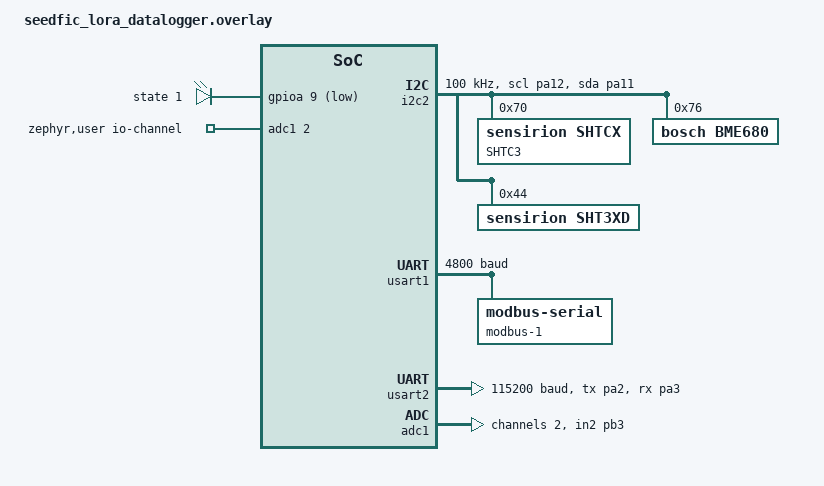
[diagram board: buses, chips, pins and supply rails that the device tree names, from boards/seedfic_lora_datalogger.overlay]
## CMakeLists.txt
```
#-------------------------------------------------------------------------------
# Zephyr Example Application
#
# Copyright (c) 2021 Nordic Semiconductor ASA
# SPDX-License-Identifier: Apache-2.0

cmake_minimum_required(VERSION 3.20.0)
find_package(Zephyr REQUIRED HINTS $ENV{ZEPHYR_BASE})

project(app LANGUAGES C)

include_directories(${CMAKE_SOURCE_DIR}/include)

target_sources(app PRIVATE
  ${CMAKE_SOURCE_DIR}/src/adc.c
  ${CMAKE_SOURCE_DIR}/src/main.c
  ${CMAKE_SOURCE_DIR}/src/bsp.c
  ${CMAKE_SOURCE_DIR}/src/event_task.c
  ${CMAKE_SOURCE_DIR}/src/control_task.c
  ${CMAKE_SOURCE_DIR}/src/sensor_task.c
)
```

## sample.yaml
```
# This file is provided so that the application can be compiled using Twister,
# the Zephyr testing tool. In this file, multiple combinations can be specified,
# so that you can easily test all of them locally or in CI.
sample:
  description: rak3172 application
  name: main
common:
  build_only: true
  integration_platforms:
    - seedfic_lora_rak3172
tests:
  app.default: {}
  app.debug:
    extra_overlay_confs:
      - debug.conf
```

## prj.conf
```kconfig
CONFIG_SERIAL=y
CONFIG_CONSOLE=y
CONFIG_UART_CONSOLE=y
CONFIG_UART_INTERRUPT_DRIVEN=y
CONFIG_UART_LINE_CTRL=y
CONFIG_STDOUT_CONSOLE=y


# CONFIG_MODBUS=y
# CONFIG_MODBUS_ROLE_CLIENT=y

# Use Segger RTT Console
#CONFIG_RTT_CONSOLE=y
#CONFIG_USE_SEGGER_RTT=y

CONFIG_LOG=y

CONFIG_SPI=y
CONFIG_I2C=y
CONFIG_GPIO=y
CONFIG_ADC=y

# CONFIG_SENSOR=y

#CONFIG_LOG_DEFAULT_LEVEL=4
#CONFIG_LOG_BACKEND_UART=y

CONFIG_NEWLIB_LIBC=y
CONFIG_NEWLIB_LIBC_FLOAT_PRINTF=y
CONFIG_CBPRINTF_FP_SUPPORT=y

CONFIG_LORA=y
CONFIG_LORA_STM32WL_SUBGHZ_RADIO=y
#CONFIG_LORA_LOG_LEVEL_DBG=y

CONFIG_LORAWAN=y
CONFIG_LORAWAN_LOG_LEVEL_DBG=y
CONFIG_LORAMAC_REGION_KR920=y

CONFIG_MAIN_STACK_SIZE=2048
CONFIG_SYSTEM_WORKQUEUE_STACK_SIZE=2048

CONFIG_FLASH=y
CONFIG_FLASH_PAGE_LAYOUT=y
CONFIG_NVS=y
CONFIG_MPU_ALLOW_FLASH_WRITE=y

CONFIG_SHELL=y
CONFIG_SHELL_HISTORY=n
CONFIG_SHELL_STACK_SIZE=4096

CONFIG_FRAMEWORK=y
CONFIG_SYS_ASSRET_ENABLED=y

CONFIG_REBOOT=y
```

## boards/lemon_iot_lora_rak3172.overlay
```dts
// DeviceTree overlay for Lemon IoT LoRa RAK3172
// SPDX-License-Identifier: Apache-2.0

/ {
	chosen {
		zephyr,console = &usart2;
		zephyr,shell-uart = &usart2;
	};
	aliases {
		sensorbus = &i2c2;
	    relay1 = &relay9;
		relay2 = &relay8;
		power = &power;
		battery = &battery;
		modbus-1 = &modbus1;
	};

	relays {
		compatible = "gpio-relays";
		power: power_ctrl {
			gpios = <&gpioa 0 GPIO_ACTIVE_LOW>;
			label = "power-ctrl";
		};
		battery: battery_ctrl {
			gpios = <&gpioa 1 GPIO_ACTIVE_LOW>;
			label = "battery-ctrl";
		};
		relay8: relay_8 {
			gpios = <&gpioa 8 GPIO_ACTIVE_LOW>;
			label = "relay-2";
		};
		relay9: relay_9 {
			gpios = <&gpioa 9 GPIO_ACTIVE_LOW>;
			label = "relay-1";
		};
	};

	zephyr,user {
		io-channels = <&adc1 2>;
	};
};


&i2c2 {
	pinctrl-0 = <&i2c2_scl_pa12 &i2c2_sda_pa11>;
	pinctrl-names = "default";
	status = "okay";
	clock-frequency = <100000>;
	shtcx@70 {
		compatible = "sensirion,shtcx";
		reg = <0x70>;
		chip = "shtc3";
		measure-mode = "normal";
	};
	bme680@76 {
		compatible = "bosch,bme680";
		reg = <0x76>;
	};
	sht3xd@44 {
		compatible = "sensirion,sht3xd";
		reg = <0x44>;
	};
};

&usart1 {
	pinctrl-names = "default";
	current-speed = <0x12c0>;
	status = "okay";
	modbus1: modbus_1 {
		compatible = "zephyr,modbus-serial";
		label = "modbus-1";
		status = "okay";
	};
};

&usart2 {
	pinctrl-0 = <&usart2_tx_pa2 &usart2_rx_pa3>;
	pinctrl-names = "default";
	current-speed = <0x1c200>;
	status = "okay";
};

&adc1 {
	pinctrl-0 = <&adc_in2_pb3>;
	pinctrl-names = "default";
	status = "okay";

	#address-cells = <1>;
	#size-cells = <0>;

	channel@2 {
		reg = <2>;
		zephyr,gain = "ADC_GAIN_1";
		zephyr,reference = "ADC_REF_INTERNAL";
		zephyr,acquisition-time = <ADC_ACQ_TIME_DEFAULT>;
		zephyr,resolution = <12>;
		zephyr,input-positive = <3>;
	};
};

&pinctrl {
	usart2_rx_pa3: usart2_rx_pa3 {
		pinmux = <STM32_PINMUX('A', 3, AF7)>;
	};
	usart2_tx_pa2: usart2_tx_pa2 {
		pinmux = <STM32_PINMUX('A', 2, AF7)>;
		bias-pull-up;
	};
};
```

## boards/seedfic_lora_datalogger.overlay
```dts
// DeviceTree overlay for SEEDFIC LoRa DataLogger
// SPDX-License-Identifier: Apache-2.0

/ {
	chosen {
		zephyr,console = &usart2;
		zephyr,shell-uart = &usart2;
	};
	aliases {
		sensorbus = &i2c2;
	 	relay1 = &relay9;
		relay2 = &relay8;
		power = &power;
		battery = &battery;
		modbus-1 = &modbus1;
	};

	relays {
		compatible = "gpio-relays";
		power: power_ctrl {
			gpios = <&gpioa 0 GPIO_ACTIVE_LOW>;
			label = "power-ctrl";
		};
		battery: battery_ctrl {
			gpios = <&gpioa 1 GPIO_ACTIVE_LOW>;
			label = "battery-ctrl";
		};
		relay8: relay_8 {
			gpios = <&gpioa 8 GPIO_ACTIVE_LOW>;
			label = "relay-2";
		};
		relay9: relay_9 {
			gpios = <&gpioa 9 GPIO_ACTIVE_LOW>;
			label = "relay-1";
		};
	};

	leds{
		compatible = "gpio-leds";
			state1: state_1{
				gpios = < &gpioa 9 GPIO_ACTIVE_LOW>;
				label = "state 1";
			};
	};

	zephyr,user {
		io-channels = <&adc1 2>;
	};
};

&i2c2 {
	pinctrl-0 = <&i2c2_scl_pa12 &i2c2_sda_pa11>;
	pinctrl-names = "default";
	status = "okay";
	clock-frequency = <100000>;
	shtcx@70 {
		compatible = "sensirion,shtcx";
		label = "SHTC3";
		reg = <0x70>;
		chip = "shtc3";
		measure-mode = "normal";
	};
	bme680@76 {
		compatible = "bosch,bme680";
		label = "BME680";
		reg = <0x76>;
	};
	sht3xd@44 {
		compatible = "sensirion,sht3xd";
		label = "SHT3XD";
		reg = <0x44>;
	};
};

&usart1 {
	pinctrl-names = "default";
	current-speed = <0x12c0>;
	status = "okay";
	modbus1: modbus_1 {
		compatible = "zephyr,modbus-serial";
		label = "modbus-1";
		status = "okay";
	};
};

&usart2 {
	pinctrl-0 = <&usart2_tx_pa2 &usart2_rx_pa3>;
	pinctrl-names = "default";
	current-speed = <0x1c200>;
	status = "okay";
};

&adc1 {
	pinctrl-0 = <&adc_in2_pb3>;
	pinctrl-names = "default";
	st,adc-clock-source = <1>;
	st,adc-prescaler = <1>;
	status = "okay";

	#address-cells = <1>;
	#size-cells = <0>;

	channel@2 {
		reg = <2>;
		zephyr,gain = "ADC_GAIN_1";
		zephyr,reference = "ADC_REF_INTERNAL";
		zephyr,acquisition-time = <ADC_ACQ_TIME_DEFAULT>;
		zephyr,resolution = <12>;
		zephyr,input-positive = <3>;
	};
};

&pinctrl {
	usart2_rx_pa3: usart2_rx_pa3 {
		pinmux = <STM32_PINMUX('A', 3, AF7)>;
	};
	usart2_tx_pa2: usart2_tx_pa2 {
		pinmux = <STM32_PINMUX('A', 2, AF7)>;
		bias-pull-up;
	};
};
```

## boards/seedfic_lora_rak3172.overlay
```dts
// DeviceTree overlay for SEEDFIC LoRa Rak3172
// SPDX-License-Identifier: Apache-2.0
// This is settig irrigration with RAK3172 in zephyr

/ {
	chosen {
		zephyr,console = &usart2;
		zephyr,shell-uart = &usart2;
	};

	aliases {
	 	relay1 = &relay1;
		relay2 = &relay2;
		power = &power;
		battery = &battery;
		led1 = &state1;
		led2 = &state2;
		waterflower = &button;
	};

	relays {
		compatible = "gpio-relays";
		power: power_ctrl {
			gpios = <&gpioa 15 GPIO_ACTIVE_LOW>;
			label = "power-ctrl";
		};
		battery: battery_ctrl {
			gpios = <&gpioa 1 GPIO_ACTIVE_LOW>;
			label = "battery-ctrl";
		};
		relay1: relay_1 {
			gpios = <&gpiob 12 GPIO_ACTIVE_LOW>;
			label = "relay-1";
		};
		relay2: relay_2 {
			gpios = <&gpiob 2 GPIO_ACTIVE_LOW>;
			label = "relay-2";
		};
	};

	leds{
		compatible = "gpio-leds";
			state1: state_1{
				gpios = < &gpioa 9 GPIO_ACTIVE_LOW>;
				label = "state 1";
			};
			state2: state_2{
				gpios = < &gpioa 10 GPIO_ACTIVE_LOW>;
				label = "state 2";
			};
	};

	buttons{
		compatible = "gpio-keys";
		button: button{
			gpios = <&gpiob 5 GPIO_ACTIVE_HIGH>;
		};
	};

	zephyr,user {
		io-channels = <&adc1 2>;
	};
};

&i2c2 {
	pinctrl-0 = <&i2c2_scl_pa12 &i2c2_sda_pa11>;
	pinctrl-names = "default";
	status = "okay";
	clock-frequency = <100000>;
};

&usart2 {
	pinctrl-0 = <&usart2_tx_pa2 &usart2_rx_pa3>;
	pinctrl-names = "default";
	current-speed = <0x1c200>;
	status = "okay";
};

&adc1 {
	pinctrl-0 = <&adc_in2_pb3>;
	pinctrl-names = "default";
	st,adc-clock-source = <1>;
	st,adc-prescaler = <1>;
	status = "okay";

	#address-cells = <1>;
	#size-cells = <0>;

	channel@2 {
		reg = <2>;
		zephyr,gain = "ADC_GAIN_1";
		zephyr,reference = "ADC_REF_INTERNAL";
		zephyr,acquisition-time = <ADC_ACQ_TIME_DEFAULT>;
		zephyr,resolution = <12>;
		zephyr,input-positive = <3>;
	};
};

&pinctrl {
	usart2_rx_pa3: usart2_rx_pa3 {
		pinmux = <STM32_PINMUX('A', 3, AF7)>;
	};
	usart2_tx_pa2: usart2_tx_pa2 {
		pinmux = <STM32_PINMUX('A', 2, AF7)>;
		bias-pull-up;
	};
};
```

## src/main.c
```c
/*
 * LoRaWAN Sensor Node
 *
 * Copyright (c) 2023 SEED FIC
 *
 * SPDX-License-Identifier: Apache-2.0
 */

#include <stdio.h>
#include <string.h>

#include "bsp.h"
#include "control_task.h"

#include <zephyr/kernel.h>
#include <zephyr/logging/log.h>
LOG_MODULE_REGISTER(main, LOG_LEVEL_INF);

int main(void) {

  int ret;
  LOG_INF("Zephyr LoRaWAN Node irrigration\nBoard: %s\n", CONFIG_BOARD);

  bsp_init();

  syscfg_init();

  control_task_init();
  control_task_thread();

  return 0;
}
```

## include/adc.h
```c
#ifndef __ANALOG_IN_H__
#define __ANALOG_IN_H__

#include <stdint.h>
#include <stdbool.h>

#ifdef __cplusplus
extern "C" {
#endif

float adc_read_vlotage(void);
#define BAD_ANALOG_READ -123

#ifdef __cplusplus
}
#endif

#endif /* __ANALOG_IN_H__ */
```

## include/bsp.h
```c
#ifndef __BSP_H__
#define __BSP_H__

#include <stddef.h>
#include <zephyr/drivers/gpio.h>
#include <zephyr/types.h>

#ifdef __cplusplus
extern "C" {
#endif

#define WATER_FLOW  "water_flow"

void bsp_init(void);
int bsp_pin_get(const struct device *port, uint8_t pin);
int bsp_pin_set(const struct device *port, uint8_t pin, int value);
int bsp_pin_toggle(const struct device *port, uint8_t pin);

int power_control(int value);
int battery_control(int value);
int relay_control(int value);
int relay_toggle(void);
int relay_2_toggle(void);
int led_state1_toggle(void);
int led_state2_toggle(void);

#ifdef __cplusplus
}
#endif

#endif /* __BSP_H__ */
```

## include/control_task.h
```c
#ifndef __CONTROL_TASK_H__
#define __CONTROL_TASK_H__

// #include <zephyr/types.h>
#include <stdbool.h>

#include <framework/sys_cfg.h>

#ifdef __cplusplus
extern "C" {
#endif

/******************************************************************************/
/* Global Constants, Macros and Type Definitions                              */
/******************************************************************************/

/** The main thread can either have a stack large enough to do initialization,
 * or the control thread can be the "main" thread, or
 */
#ifndef CONTROL_TASK_USES_MAIN_THREAD
#define CONTROL_TASK_USES_MAIN_THREAD 0
#endif

/******************************************************************************/
/* Global Function Prototypes                                                 */
/******************************************************************************/
/**
 * @brief Initialize control task and all other application tasks.
 */
void control_task_init(void);

/**
 * @brief Run main/control thread.
 */
void control_task_thread(void);

#ifdef __cplusplus
}
#endif

#endif /* __CONTROL_TASK_H__ */
```

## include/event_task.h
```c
#ifndef __EVENT_TASK_H__
#define __EVENT_TASK_H__

// #include <zephyr/types.h>
#include <stddef.h>

#ifdef __cplusplus
extern "C" {
#endif

void event_task_init(void);

#ifdef __cplusplus
}
#endif

#endif /* __EVENT_TASK_H__ */
```

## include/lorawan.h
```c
/*
 * LoRaWAN sample application
 *
 * SPDX-License-Identifier: Apache-2.0
 */

#ifndef __LORAWAN_H__
#define __LORAWAN_H__

// #define _WISGATE_OS_
// #define _CHIRPSTACK_OS_
#define _CHIRPSTACK_OS_V4_
// #define _HELTEC_TTS_
// #define SENSOR_NUMBER 1
#define IRRIGRATION_NUMBER 1

/* Customize based on network configuration */
#if defined(_WISGATE_OS_)

#if SENSOR_NUMBER == 1

#define LORAWAN_DEV_EUI                                                        \
  { 0xd4, 0x13, 0xcd, 0x92, 0x0f, 0x88, 0x56, 0x34 } // MSB Format!

#define FPORT 3

#pragma message("Sensor1")

#elif SENSOR_NUMBER == 2

#define LORAWAN_DEV_EUI                                                        \
  { 0xd4, 0x13, 0xcd, 0x92, 0x0f, 0x88, 0x56, 0x35 } // MSB Format!

#define FPORT 2

#pragma message("Sensor2")

#elif SENSOR_NUMBER == 3

#define LORAWAN_DEV_EUI                                                        \
  { 0xd4, 0x13, 0xcd, 0x92, 0x0f, 0x88, 0x56, 0x36 } // MSB Format!

#define FPORT 4

#pragma message("Sensor3")

#else

#error "Unexpected sensor number"

#endif

#define LORAWAN_JOIN_EUI                                                       \
  { 0x00, 0x00, 0x00, 0x00, 0x00, 0x00, 0x00, 0x00 } // MSB Format!
#define LORAWAN_APP_KEY                                                        \
  {                                                                            \
    0x88, 0x51, 0xaf, 0xe5, 0xc0, 0x06, 0x01, 0x9c, 0xe2, 0x5e, 0x69, 0x9b,    \
        0x0c, 0x7e, 0x1a, 0xb1                                                 \
  }

#elif defined(_CHIRPSTACK_OS_)

#if SENSOR_NUMBER == 1

#define LORAWAN_DEV_EUI                                                        \
  { 0xd4, 0x13, 0xcd, 0x92, 0x0f, 0x88, 0x56, 0x34 } // MSB Format!

#define FPORT 2

#pragma message("Sensor1")

#elif SENSOR_NUMBER == 2

#define LORAWAN_DEV_EUI                                                        \
  { 0xd4, 0x13, 0xcd, 0x92, 0x0f, 0x88, 0x56, 0x35 } // MSB Format!

#define FPORT 3

#pragma message("Sensor2")

#elif SENSOR_NUMBER == 3

#define LORAWAN_DEV_EUI                                                        \
  { 0xd4, 0x13, 0xcd, 0x92, 0x0f, 0x88, 0x56, 0x36 } // MSB Format!

#define FPORT 4

#pragma message("Sensor3")

#elif SENSOR_NUMBER == 5

#define LORAWAN_DEV_EUI                                                        \
  { 0xd4, 0x13, 0xcd, 0x92, 0x0f, 0x88, 0x56, 0x38 } // MSB Format!

#pragma message("Sensor5")

#define FPORT 6

#elif SENSOR_NUMBER == 6

#define LORAWAN_DEV_EUI                                                        \
  { 0xd4, 0x13, 0xcd, 0x92, 0x0f, 0x88, 0x56, 0x39 } // MSB Format!

#pragma message("Sensor6")

#define FPORT 7

#elif SENSOR_NUMBER == 7

#define LORAWAN_DEV_EUI                                                        \
  { 0xd4, 0x13, 0xcd, 0x92, 0x0f, 0x88, 0x56, 0x3A } // MSB Format!

#pragma message("Sensor7")

#define FPORT 8

#elif SENSOR_NUMBER == 8

#define LORAWAN_DEV_EUI                                                        \
  { 0xd4, 0x13, 0xcd, 0x92, 0x0f, 0x88, 0x56, 0x3B } // MSB Format!

#pragma message("Sensor8")

#define FPORT 9

#elif SENSOR_NUMBER == 9

#define LORAWAN_DEV_EUI                                                        \
  { 0xd4, 0x13, 0xcd, 0x92, 0x0f, 0x88, 0x56, 0x3C } // MSB Format!

#pragma message("Sensor9")

#define FPORT 10

#endif

#define LORAWAN_JOIN_EUI                                                       \
  { 0x00, 0x00, 0x00, 0x00, 0x00, 0x00, 0x00, 0x00 } // MSB Format!
#define LORAWAN_APP_KEY                                                        \
  {                                                                            \
    0xa7, 0x6f, 0xd9, 0xad, 0x23, 0xe4, 0x23, 0xea, 0x7e, 0xd4, 0x6a, 0xf4,    \
        0x6f, 0x1f, 0x5f, 0xd3                                                 \
  }

#elif defined(_CHIRPSTACK_OS_V4_)

#if SENSOR_NUMBER == 4

#define LORAWAN_DEV_EUI                                                        \
  { 0xD4, 0x13, 0xCD, 0x92, 0x0F, 0x81, 0x51, 0x57 } // MSB Format!

#pragma message("Sensor4")

#define FPORT 5

#elif SENSOR_NUMBER == 10

#define LORAWAN_DEV_EUI                                                        \
  { 0xd4, 0x13, 0xcd, 0x92, 0x0f, 0x88, 0x56, 0x3D } // MSB Format!

#pragma message("Sensor10")

#define FPORT 11

#elif SENSOR_NUMBER == 11

#define LORAWAN_DEV_EUI                                                        \
  { 0xd4, 0x13, 0xcd, 0x92, 0x0f, 0x88, 0x56, 0x3E } // MSB Format!

#pragma message("Sensor11")

#define FPORT 12

#elif IRRIGRATION_NUMBER == 1

#define LORAWAN_DEV_EUI                                                        \
  { 0x0e, 0xff, 0x9b, 0x43, 0x95, 0x24, 0x8f, 0xc8 } // MSB Format!
#pragma message("irrigration board #1")

#define FPORT 13

#endif /* SENSOR_NUMBER */

#define LORAWAN_JOIN_EUI                                                       \
  { 0x00, 0x00, 0x00, 0x00, 0x00, 0x00, 0x00, 0x00 } // MSB Format!
#define LORAWAN_APP_KEY                                                        \
  {                                                                            \
    0xa8, 0x60, 0xd9, 0xac, 0x25, 0xed, 0x23, 0xe0, 0x7d, 0xd3, 0x6b, 0xf1,    \
        0x6e, 0x1d, 0x50, 0x53                                                 \
  }

#elif defined(_HELTEC_TTS_)

#if SENSOR_NUMBER == 1

#define LORAWAN_DEV_EUI                                                        \
  { 0xD4, 0x13, 0xCD, 0x92, 0x0F, 0x81, 0x51, 0x58 } // MSB Format!

#pragma message("Sensor5")

#define FPORT 6

#endif /* SENSOR_NUMBER */

#define LORAWAN_JOIN_EUI                                                       \
  { 0x00, 0x00, 0x00, 0x00, 0x00, 0x00, 0x00, 0x00 } // MSB Format!

#define LORAWAN_APP_KEY                                                        \
  {                                                                            \
    0xC1, 0x14, 0xE3, 0xE6, 0x2A, 0x8F, 0xBC, 0x1E, 0xD4, 0x02, 0xE3, 0xAA,    \
        0x5C, 0x8B, 0x1E, 0xB6                                                 \
  }

#endif

#endif /* __LORAWAN_H__ */
```

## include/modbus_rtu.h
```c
#ifndef __MODBUS_RTU_H__
#define __MODBUS_RTU_H__

#ifdef __cplusplus
extern "C" {
#endif

int init_modbus_client(void);

int read_holding_regs(const uint8_t unit_id, const uint16_t start_addr, uint16_t *const reg_buf,
                         const uint16_t num_regs);
int write_holding_regs(const uint8_t unit_id, const uint16_t start_addr, uint16_t *const reg_buf,
                          const uint16_t num_regs);

#ifdef __cplusplus
}
#endif

#endif /* __MODBUS_RTU_H__ */
```

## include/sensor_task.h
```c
/**
 * @file sensor_task.h
 * @brief
 *
 * Copyright (c) 2023 SEED FIC
 *
 * SPDX-License-Identifier: Apache-2.0
 */
#ifndef __SENSOR_TASK_H__
#define __SENSOR_TASK_H__

// #include <zephyr/types.h>
// #include <stddef.h>

#ifdef __cplusplus
extern "C" {
#endif

/******************************************************************************/
/* Global Function Prototypes                                                 */
/******************************************************************************/
/**
 * @brief The setup of the thread parameters
 */
void sensor_task_init(void);

#ifdef __cplusplus
}
#endif

#endif /* __SENSOR_TASK_H__ */
```

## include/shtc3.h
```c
/*
 * SHTC3 - Sensirion Humidity and Temperature Sensor Code
 *
 * SPDX-License-Identifier: Apache-2.0
 */

#ifndef __SHTC3_H__
#define __SHTC3_H__

#ifdef __cplusplus
extern "C" {
#endif

#define SHTC3_ADDR 0x70

#define SHTC3_SLEEP 0xB098
#define SHTC3_WAKEUP 0x3517
#define SHTC3_SWRESET 0x805D
#define SHTC3_IDREG 0xEFC8
#define SHTC3_READ_T_FIRST 0x7866
#define SHTC3_READ_RH_FIRST 0x58E0

#define CRC_POLYNOMIAL 0x131  // P(x) = x^8 + x^5 + x^4 + 1 = 100110001
#define SHTC3_NO_ERROR 0
#define SHTC3_CHECKSUM_ERROR -1
#define SHTC3_I2C_ERROR -2

#define SHTC3_NO_RETRIES 100

struct VALUES {
  uint16_t temperature;
  uint8_t temperature_crc;
  uint16_t humidity;
  uint8_t humidity_crc;
} __attribute__((packed));

union DATA {
  struct VALUES meas;
  uint8_t buffer[6];
};

int8_t i2c_write_short(const struct device *i2c_dev, uint8_t address, uint8_t command, uint16_t data);
int16_t i2c_read_short(const struct device *i2c_dev, uint8_t address, uint8_t command);
uint8_t shtc3_sleep(const struct device *dev);
uint8_t shtc3_wakeup(const struct device *dev);
uint8_t shtc3_readid(const struct device *dev);
uint8_t shtc3_software_reset(const struct device *dev);
uint8_t shtc3_GetTempAndHumidity(const struct device *dev, uint16_t *temperature, uint16_t *humidity);
uint8_t shtc3_checkcrc(uint8_t data[], uint8_t nbrOfBytes, uint8_t checksum);

float shtc3_convert_humd(uint16_t raw_humd);
float shtc3_convert_temp(uint16_t raw_temp);

#ifdef __cplusplus
}
#endif

#endif /* __SHTC3_H__ */
```

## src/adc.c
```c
/*
 * RAK3172 (STM32WLE5CC) ADC Example
 *
 * The STM32WL ADC consists of 12 external and 4 internal channels.
 *
 * The RAK3172 has the following ADC inputs broken out:
 * Channel 2  - P0.19 ADC0 'adc_in2_pb3'
 * Channel 3  - P0.20 ADC1 'adc_in3_pb4'
 * Channel 4  - P0.18 ADC2 'adc_in4_pb2'
 * Channel 6  - P0.10 ADC3 'adc_in6_pa10'
 * Channel 11 - P0.15 ADC4 'adc_in11_pa15'
 *
 * Internal Inputs are:
 * Channel 12 - Temperature
 * Channel 13 - Volt Ref
 * Channel 14 - VBAT/3
 * Channel 15 - DAC Output
 *
 * To connect the ADC to the I/O pin, they must be defined in the pinctrl property of the ADC node:
 * pinctrl-0 = <&adc_in2_pb3>, <&adc_in3_pb4>, <&adc_in4_pb2>, <&adc_in6_pa10>, <&adc_in11_pa15>;
 *
 */

#include "adc.h"
#include <inttypes.h>
#include <stddef.h>
#include <stdint.h>

#include <zephyr/device.h>
#include <zephyr/devicetree.h>
#include <zephyr/drivers/adc.h>
#include <zephyr/kernel.h>
#include <zephyr/sys/printk.h>
#include <zephyr/sys/util.h>

#include <zephyr/logging/log.h>
LOG_MODULE_REGISTER(adc_sample, LOG_LEVEL_INF);

#if !DT_NODE_EXISTS(DT_PATH(zephyr_user)) || !DT_NODE_HAS_PROP(DT_PATH(zephyr_user), io_channels)
#error "No suitable devicetree overlay specified"
#endif

#define DT_SPEC_AND_COMMA(node_id, prop, idx) ADC_DT_SPEC_GET_BY_IDX(node_id, idx),

#define INPUT_VOLT_RANGE 4.2f    // Volts
#define VALUE_RANGE_12_BIT 4096  // 2^12

static bool is_initialized = false;

/* Data of ADC io-channels specified in devicetree. */
static const struct adc_dt_spec adc_channels[] = { DT_FOREACH_PROP_ELEM(DT_PATH(zephyr_user), io_channels,
                                                                        DT_SPEC_AND_COMMA) };

static int get_adc_channel_count(void) {
  return ARRAY_SIZE(adc_channels);
}

static const struct adc_dt_spec* get_adc_channel(int index) {
  if ((index + 1) > ARRAY_SIZE(adc_channels)) {
    return (struct adc_dt_spec*)NULL;
  }
  return &adc_channels[index];
}

// initialize and configure the adc channel
static const struct adc_dt_spec* init_adc(void) {
  int ret;

  int ch_count = get_adc_channel_count();
  if (ch_count > 1) {
    printk("Only support channel count 1\n");
    ch_count = 1;
  }

  const struct adc_dt_spec* adc_channel = get_adc_channel(ch_count - 1);
  if (adc_channel == NULL) {
    LOG_INF("Fail to intialize the adc channel!!!");
    return NULL;
  }

  if (!device_is_ready(adc_channel->dev)) {
    printk("ADC controller device %s not ready\n", adc_channel->dev->name);
    return NULL;
  }

  if (adc_channel->dev != NULL && !is_initialized) {
    ret = adc_channel_setup_dt(adc_channel);
    if (ret != 0) {
      LOG_INF("Could not setup channel with error = (%d)", ret);
    } else {
      is_initialized = true;  // we don't have any other analog users
    }
  }

  return adc_channel;
}

// ------------------------------------------------
// read one channel of adc
// ------------------------------------------------
static int16_t read_adc_value(void) {
  int32_t val_mv;
  int16_t value = 0;

  struct adc_sequence sequence = { .buffer = &value,  // where to put samples read
                                   .buffer_size = sizeof(value) };

  int ret;
  int16_t sample_value = BAD_ANALOG_READ;

  const struct adc_dt_spec* adc_channel = init_adc();

  if (adc_channel) {
    printk("- %s, channel %d: ", adc_channel->dev->name, adc_channel->channel_id);
    (void)adc_sequence_init_dt(adc_channel, &sequence);
    ret = adc_read(adc_channel->dev, &sequence);
    if (ret == 0) {
      sample_value = value;

      printk("sample_value = %" PRId32, sample_value);
    }

    /*
     * If using differential mode, the 16 bit value
     * in the ADC sample buffer should be a signed 2's
     * complement value.
     */
    if (adc_channel->channel_cfg.differential) {
      val_mv = (int32_t)((int16_t)value);
    } else {
      val_mv = (int32_t)value;
    }
    int err = adc_raw_to_millivolts_dt(adc_channel, &val_mv);
    /* conversion to mV may not be supported, skip if not */
    if (err < 0) {
      printk(" (value in mV not available)\n");
    } else {
      printk(", value = %" PRId32 " mV\n", val_mv);
    }
  }

  return sample_value;
}

// ------------------------------------------------
// high level read adc channel and convert to float voltage
// ------------------------------------------------
float adc_read_vlotage(void) {
  int16_t sv = read_adc_value();

  if (sv == BAD_ANALOG_READ) {
    return sv;
  }

  // Convert the result to voltage
  // Result = [V(p) - V(n)] * GAIN/REFERENCE / (2^(RESOLUTION) / 1000)

  // the 3.3 relates to the voltage divider being used in my circuit
  float fout = (sv * (INPUT_VOLT_RANGE / VALUE_RANGE_12_BIT));
  return (fout * 2);
}
```

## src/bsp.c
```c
/**
 * @file bsp.c
 * @brief This is the board support file for defining and configuring the GPIO
 * pins and other peripheral
 *
 * Copyright (c) 2023 SEED FIC
 *
 * SPDX-License-Identifier: Apache-2.0
 */

#include <zephyr/logging/log.h>
#include <zephyr/logging/log_ctrl.h>

LOG_MODULE_REGISTER(bsp, LOG_LEVEL_DBG);

/******************************************************************************/
/* Includes                                                                   */
/******************************************************************************/
#include <zephyr/device.h>
#include <zephyr/drivers/gpio.h>
#include <zephyr/drivers/uart.h>
#include <zephyr/kernel.h>
#include <zephyr/pm/device.h>
#include <zephyr/sys/util.h>

#include "bsp.h"
#include <framework/sys_cfg.h>

/******************************************************************************/
/* Local Data Definitions                                                     */
/******************************************************************************/

/* The devicetree node identifier for the "relay0" alias. */
#define REALY1_NODE DT_ALIAS(relay1)
#define REALY2_NODE DT_ALIAS(relay2)
#define POWER_NODE DT_ALIAS(power)
#define BATTERY_NODE DT_ALIAS(battery)
#define LED1_NODE DT_ALIAS(led1)
#define LED2_NODE DT_ALIAS(led2)
#define WATER_FLOWER_NODE DT_ALIAS(waterflower)

/*
 * A build error on this line means your board is unsupported.
 * See the sample documentation for information on how to fix this.
 */

static struct gpio_callback water_flower_cb_data;
static const struct gpio_dt_spec water_flower =
    GPIO_DT_SPEC_GET(WATER_FLOWER_NODE, gpios);

static const struct gpio_dt_spec power_ctrl =
    GPIO_DT_SPEC_GET(POWER_NODE, gpios);
static const struct gpio_dt_spec battery_ctrl =
    GPIO_DT_SPEC_GET(BATTERY_NODE, gpios);
static const struct gpio_dt_spec relay = GPIO_DT_SPEC_GET(REALY1_NODE, gpios);
static const struct gpio_dt_spec relay_2 = GPIO_DT_SPEC_GET(REALY2_NODE, gpios);
static const struct device *lora_dev = DEVICE_DT_GET(DT_ALIAS(lora0));

static const struct gpio_dt_spec led_state1 =
    GPIO_DT_SPEC_GET(LED1_NODE, gpios);
static const struct gpio_dt_spec led_state2 =
    GPIO_DT_SPEC_GET(LED2_NODE, gpios);

static uint32_t water_flower_count = 0;
/******************************************************************************/
/* Local Function Prototypes                                                  */
/******************************************************************************/
static void configure_outputs(void);

void gpio_pin_interrupt_set(void);

/******************************************************************************/
/* Global Function Definitions                                                */
/******************************************************************************/
void bsp_init(void) {

  if (!gpio_is_ready_dt(&relay)) {
    LOG_ERR("%s device not ready", relay.port->name);
  }

  if (!gpio_is_ready_dt(&relay_2)) {
    LOG_ERR("%s device not ready", relay_2.port->name);
  }

  if (!gpio_is_ready_dt(&power_ctrl)) {
    LOG_ERR("%s device not ready", power_ctrl.port->name);
  }

  if (!gpio_is_ready_dt(&battery_ctrl)) {
    LOG_ERR("%s device not ready", battery_ctrl.port->name);
  }

  if (!device_is_ready(lora_dev)) {
    LOG_ERR("%s: device not ready.", lora_dev->name);
  }

  if (!gpio_is_ready_dt(&water_flower)) {
    LOG_ERR("%s: device not ready.", water_flower.port->name);
  }

  if (!gpio_is_ready_dt(&led_state1)) {
    LOG_ERR("%s: device not ready.", led_state1.port->name);
  }

  if (!gpio_is_ready_dt(&led_state2)) {
    LOG_ERR("%s: device not ready.", led_state1.port->name);
  }

  configure_outputs();
  gpio_pin_interrupt_set();
}

int bsp_pin_get(const struct device *port, uint8_t pin) {
  int ret = gpio_pin_get_raw(port, pin);
  if (ret < 0) {
    LOG_ERR("Failed to set pin");
  }
  return ret;
}

int bsp_pin_set(const struct device *port, uint8_t pin, int value) {
  int ret = gpio_pin_set_raw(port, pin, value);
  if (ret < 0) {
    LOG_ERR("Failed to set pin");
  }
  return ret;
}

int bsp_pin_toggle(const struct device *port, uint8_t pin) {
  return gpio_pin_toggle(port, pin);
}

int power_control(int value) {
  return bsp_pin_set(power_ctrl.port, power_ctrl.pin, value);
}

int battery_control(int value) {
  return bsp_pin_set(battery_ctrl.port, battery_ctrl.pin, value);
}

int relay_control(int value) {
  return bsp_pin_set(relay.port, relay.pin, value);
}

int relay_toggle(void) { return bsp_pin_toggle(relay.port, relay.pin); }

int relay_2_toggle(void) { return bsp_pin_toggle(relay_2.port, relay_2.pin); }

int led_state1_toggle(void) {
  return bsp_pin_toggle(led_state1.port, led_state1.pin);
}

int led_state2_toggle(void) {
  return bsp_pin_toggle(led_state2.port, led_state2.pin);
}

static void configure_outputs(void) {
  gpio_pin_configure_dt(&water_flower, GPIO_INPUT);
  gpio_pin_configure_dt(&relay, GPIO_OUTPUT_ACTIVE);
  gpio_pin_configure_dt(&relay_2, GPIO_OUTPUT_ACTIVE);
  gpio_pin_configure_dt(&led_state1, GPIO_OUTPUT_ACTIVE);
  gpio_pin_configure_dt(&led_state2, GPIO_OUTPUT_ACTIVE);
  gpio_pin_configure_dt(&power_ctrl, GPIO_OUTPUT_ACTIVE);
  gpio_pin_configure_dt(&battery_ctrl, GPIO_OUTPUT_ACTIVE);
}

void water_flower_check(const struct device *dev, struct gpio_callback *cb,
                        uint32_t pins) {
  // TODO
  char water_flow[12] = {0};

  water_flower_count++;
  printk("water_flower count : %u\n", water_flower_count);
  snprintf(water_flow, sizeof(water_flow), "%u", water_flower_count);
  syscfg_set(WATER_FLOW, water_flow);
}

void gpio_pin_interrupt_set(void) {
  int ret;
  ret = gpio_pin_interrupt_configure_dt(&water_flower, GPIO_INT_EDGE_RISING);
  if (ret != 0) {
    printk("gpio_pin_interrupt_configure_dt error\n");
  }
  gpio_init_callback(&water_flower_cb_data, water_flower_check,
                     BIT(water_flower.pin));
  gpio_add_callback(water_flower.port, &water_flower_cb_data);
}
```

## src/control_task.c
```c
#include <math.h>
#include <stdio.h>
#include <string.h>

#include <zephyr/device.h>
#include <zephyr/drivers/gpio.h>
#include <zephyr/kernel.h>
#include <zephyr/lorawan/lorawan.h>
#include <zephyr/sys/reboot.h>

// #include <zephyr/drivers/flash.h>
// #include <zephyr/fs/nvs.h>
// #include <zephyr/storage/flash_map.h>

#include <framework/msg_ids.h>
#include <framework/sys_msg_macros.h>
#include <framework/sys_msg_types.h>

#include "bsp.h"
#include "control_task.h"
#include "event_task.h"
#include "lorawan.h"
#include "sensor_task.h"

#include <zephyr/logging/log.h>
LOG_MODULE_REGISTER(control_task, LOG_LEVEL_DBG);

#define THIS_FILE "Control_Task"

// #define CONFIG_HEARTBEAT_SECONDS 300
#define CONFIG_HEARTBEAT_SECONDS 120

#if !CONTROL_TASK_USES_MAIN_THREAD
#ifndef CONTROL_TASK_PRIORITY
#define CONTROL_TASK_PRIORITY K_PRIO_PREEMPT(1)
#endif

#ifndef CONTROL_TASK_STACK_DEPTH
#define CONTROL_TASK_STACK_DEPTH 4096
#endif
#endif /* CONTROL_TASK_USES_MAIN_THREAD */

#ifndef CONTROL_TASK_QUEUE_DEPTH
#define CONTROL_TASK_QUEUE_DEPTH 32
#endif

// #define NVS_PARTITION storage_partition
// #define NVS_PARTITION_DEVICE FIXED_PARTITION_DEVICE(NVS_PARTITION)
// #define NVS_PARTITION_OFFSET FIXED_PARTITION_OFFSET(NVS_PARTITION)

// #define NVS_DEVNONCE_ID 1

typedef struct {
  msg_task_t msg_task;
  uint32_t boradcast_cnt;
  bool b_factory_reset;
  bool b_task_started;
} control_ctx_t;

/**********************************************************/
/* Local Data Definitions                                 */
/**********************************************************/
static control_ctx_t ctrl_ctx;

// static struct nvs_fs fs;
static uint16_t dev_nonce;

static bool b_send_msg_lorawan;

uint8_t tx_data[51] = {0};

#if !CONTROL_TASK_USES_MAIN_THREAD
K_THREAD_STACK_DEFINE(ctrl_task_stack, CONTROL_TASK_STACK_DEPTH);
#endif

K_MSGQ_DEFINE(ctrl_task_queue, MSG_QUEUE_ENTRY_SIZE, CONTROL_TASK_QUEUE_DEPTH,
              MSG_QUEUE_ALIGNMENT);

/**********************************************************/
/* Local Function Prototypes                              */
/**********************************************************/
static void ctrl_task_thread(void *, void *, void *);

static uint16_t get_dev_nonce(void);
static uint16_t inc_dev_nonce(uint16_t nonce);

// LoRaWAN callback functions
static void dl_callback(uint8_t port, bool data_pending, int16_t rssi,
                        int8_t snr, uint8_t len, const uint8_t *data);
static void lorwan_datarate_changed(enum lorawan_datarate dr);

static dispatch_result_t sw_reset_msg_handler(msg_recv_t *p_msg_rxer,
                                              msg_t *p_msg);
static dispatch_result_t heart_beat_msg_handler(msg_recv_t *p_msg_rxer,
                                                msg_t *p_msg);
static dispatch_result_t factory_reset_msg_handler(msg_recv_t *p_msg_rxer,
                                                   msg_t *p_msg);
static dispatch_result_t join_lorawan_msg_handler(msg_recv_t *p_msg_rxer,
                                                  msg_t *p_msg);
static dispatch_result_t send_data_lorawan_msg_handler(msg_recv_t *p_msg_rxer,
                                                       msg_t *p_msg);
static dispatch_result_t sensor_event_msg_handler(msg_recv_t *p_msg_rxer,
                                                  msg_t *p_msg);

static void reboot_handler(void);

/**********************************************************/
/* System Message Dispatcher                              */
/**********************************************************/
static msg_handler_t *control_task_msg_dispatcher(msg_code_t msg_code) {
  /* clang-format off */
  switch (msg_code) {
    case SMC_INVALID:           return sys_unknown_msg_handler;
    case SMC_PERIODIC:          return heart_beat_msg_handler;
    case SMC_SW_RESET:          return sw_reset_msg_handler;
    case SMC_FACTORY_RESET:     return factory_reset_msg_handler;
    case SMC_JOIN_LORAWAN:      return join_lorawan_msg_handler;
    case SMC_SENSOR_EVENT:      return sensor_event_msg_handler;
    case SMC_SEND_DATA_LORAWAN: return send_data_lorawan_msg_handler;
    default:                    return NULL;
  }
  /* clang-format on */
}

/**********************************************************/
/* Global Function Definitions                            */
/**********************************************************/
void control_task_init(void) {
  ctrl_ctx.msg_task.rxer.id = MSG_ID_CONTROL_TASK;
  ctrl_ctx.msg_task.rxer.rx_block_ticks = K_FOREVER;
  ctrl_ctx.msg_task.rxer.p_msg_dispatcher = control_task_msg_dispatcher;
  ctrl_ctx.msg_task.timer_duration_ticks = K_SECONDS(CONFIG_HEARTBEAT_SECONDS);
  ctrl_ctx.msg_task.timer_period_ticks = K_MSEC(0);
  ctrl_ctx.msg_task.rxer.p_queue = &ctrl_task_queue;

  msg_register_task(&ctrl_ctx.msg_task);

  ctrl_ctx.b_factory_reset = false;

#if CONTROL_TASK_USES_MAIN_THREAD
  ctrl_ctx.msg_task.p_tid = k_current_get();
#else
  ctrl_ctx.msg_task.p_tid = k_thread_create(
      &ctrl_ctx.msg_task.data, ctrl_task_stack,
      K_THREAD_STACK_SIZEOF(ctrl_task_stack), ctrl_task_thread, &ctrl_ctx, NULL,
      NULL, CONTROL_TASK_PRIORITY, 0, K_NO_WAIT);
#endif
  k_thread_name_set(ctrl_ctx.msg_task.p_tid, THIS_FILE);
}

void control_task_thread(void) {
#if CONTROL_TASK_USES_MAIN_THREAD
  ctrl_task_thread(&ctrl_ctx.msg_task.p_tid, NULL, NULL);
#endif
}

/**********************************************************/
/* Local Function Definitions                             */
/**********************************************************/
#if 0
static uint16_t get_dev_nonce(void) {
  struct flash_pages_info info;
  ssize_t bytes_written;
  uint16_t nonce = 0;
  int ret = 0;

  fs.flash_device = NVS_PARTITION_DEVICE;
  if (!device_is_ready(fs.flash_device)) {
    printk("Flash device %s is not ready\n", fs.flash_device->name);
    return 0;
  }
  fs.offset = NVS_PARTITION_OFFSET;
  ret = flash_get_page_info_by_offs(fs.flash_device, fs.offset, &info);
  if (ret) {
    printk("Unable to get page info\n");
    return 0;
  }
  fs.sector_size = info.size;
  fs.sector_count = 3U;

  ret = nvs_mount(&fs);
  if (ret) {
    printk("Flash Init failed\n");
    return 0;
  }

  ret = nvs_read(&fs, NVS_DEVNONCE_ID, &nonce, sizeof(nonce));
  if (ret > 0) { /* item was found, show it */
    printk("NVS: ID %d, DevNonce: %d\n", NVS_DEVNONCE_ID, nonce);
  } else { /* item was not found, add it */
    printk("NVS: No DevNonce found, resetting to %d\n", nonce);
    bytes_written = nvs_write(&fs, NVS_DEVNONCE_ID, &nonce, sizeof(nonce));
    if (bytes_written < 0) {
      printf("NVS: Failed to write id %d (%d)\n", NVS_DEVNONCE_ID,
             bytes_written);
    } else {
      printf("NVS: Wrote %d bytes to id %d\n", bytes_written, NVS_DEVNONCE_ID);
    }
  }

  return nonce;
}
#endif

static uint16_t get_dev_nonce(void) {
  char s_dev_nonce[10] = {0};
  uint16_t dev_nonce = 0;

  int ret = syscfg_get("dev_nonce", s_dev_nonce, sizeof(s_dev_nonce));
  if (ret == -1) {
    return dev_nonce;
  }

  dev_nonce = atoi(s_dev_nonce);
  return dev_nonce;
}

static uint16_t inc_dev_nonce(uint16_t nonce) {
  char s_dev_nonce[10] = {0};

  // Increment DevNonce as per LoRaWAN 1.0.4 Spec.
  nonce++;

  snprintf(s_dev_nonce, sizeof(s_dev_nonce), "%hu", nonce);
  syscfg_set("dev_nonce", s_dev_nonce);

  return nonce;
}

static bool lorawan_init(void) {
  printk("Starting LoRaWAN stack.\n");

  int ret = lorawan_start();
  if (ret < 0) {
    printk("lorawan_start failed: %d\n\n", ret);
    return false;
  }

  // Enable callbacks
  struct lorawan_downlink_cb downlink_cb = {.port = LW_RECV_PORT_ANY,
                                            .cb = dl_callback};

  lorawan_register_downlink_callback(&downlink_cb);
  lorawan_register_dr_changed_callback(lorwan_datarate_changed);

  dev_nonce = get_dev_nonce();

  // trigger join lorawan network message
  SYSMSG_CREATE_AND_SEND(MSG_ID_CONTROL_TASK, MSG_ID_CONTROL_TASK,
                         SMC_JOIN_LORAWAN);

  return true;
}

static void ctrl_task_thread(void *p_arg1, void *p_arg2, void *p_arg3) {
  control_ctx_t *p_ctrl = (control_ctx_t *)p_arg1;

  reboot_handler();

  // Initialize of other tasks and configuration.
  sensor_task_init();
  event_task_init();

  // Initialize LoRaWAN
  lorawan_init();

  msg_start_timer(&p_ctrl->msg_task);

  ctrl_ctx.b_task_started = true;

  LOG_INF("Control Task is started!!!");

  while (true) {
    msg_receiver(&p_ctrl->msg_task.rxer);
  }
}

static void dl_callback(uint8_t port, bool data_pending, int16_t rssi,
                        int8_t snr, uint8_t len, const uint8_t *data) {
  char rx_data[10] = {0};

  LOG_INF("Port %d, Pending %d, RSSI %ddB, SNR %ddBm", port, data_pending, rssi,
          snr);
  if (data) {
    LOG_HEXDUMP_INF(data, len, "Payload: ");
  }
  // Control the relay node when receiving the control command from the LoRa
  // network server.
  memcpy(rx_data, data, len);
  if (strncmp(rx_data, "on", len) == 0) {
    relay_control(1);
  } else if (strncmp(rx_data, "off", len) == 0) {
    relay_control(0);
  }
}

static void lorwan_datarate_changed(enum lorawan_datarate dr) {
  uint8_t unused, max_size;

  lorawan_get_payload_sizes(&unused, &max_size);
  LOG_INF("New Datarate: DR_%d, Max Payload %d", dr, max_size);
}

static void reboot_handler(void) {}

static dispatch_result_t sw_reset_msg_handler(msg_recv_t *p_msg_rxer,
                                              msg_t *p_msg) {
  LOG_WRN("Software Reset!!!");
  return DISPATCH_OK;
}

static dispatch_result_t heart_beat_msg_handler(msg_recv_t *p_msg_rxer,
                                                msg_t *p_msg) {
  ARG_UNUSED(p_msg);
  control_ctx_t *p_ctrl = MSG_TASK_CONTAINER(control_ctx_t);

  /* do something (send senor data to LoRa Gateway periodically) */
  SYSMSG_CREATE_AND_SEND(MSG_ID_CONTROL_TASK, MSG_ID_SENSOR_TASK,
                          SMC_SENSOR_MEASURE);

  LOG_INF("Received HeartBeat message!!!");

  // Restart timer to run periodic callback
  msg_start_timer(&p_ctrl->msg_task);

  return DISPATCH_OK;
}

static dispatch_result_t factory_reset_msg_handler(msg_recv_t *p_msg_rxer,
                                                   msg_t *p_msg) {
  LOG_WRN("Factory Rest!!!");
  ctrl_ctx.b_factory_reset = true;

  // Need to do factory reset
  // Need reset to init all the configuration values.

  SYSMSG_CREATE_AND_SEND(MSG_ID_CONTROL_TASK, MSG_ID_CONTROL_TASK,
                         SMC_SW_RESET);

  return DISPATCH_OK;
}

static dispatch_result_t join_lorawan_msg_handler(msg_recv_t *p_msg_rxer,
                                                  msg_t *p_msg) {
  LOG_INF("Joining LoRaWAN network");

  int i = 0, ret = 0;
  struct lorawan_join_config join_cfg;

  uint8_t dev_eui[] = LORAWAN_DEV_EUI;
  uint8_t join_eui[] = LORAWAN_JOIN_EUI;
  uint8_t app_key[] = LORAWAN_APP_KEY;

  join_cfg.mode = LORAWAN_ACT_OTAA;
  join_cfg.dev_eui = dev_eui;
  join_cfg.otaa.join_eui = join_eui;
  join_cfg.otaa.app_key = app_key;
  join_cfg.otaa.nwk_key = app_key;
  join_cfg.otaa.dev_nonce = dev_nonce;

  do {
    printk("Joining network using OTAA, dev nonce %d, attempt %d: ", dev_nonce,
           i++);
    ret = lorawan_join(&join_cfg);
    if (ret < 0) {
      if ((ret = -ETIMEDOUT)) {
        printf("Timed-out waiting for response.\n");
      } else {
        printk("Join failed (%d)\n", ret);
      }
    } else {
      printk("Join successful.\n");
    }

    dev_nonce = inc_dev_nonce(dev_nonce);
    join_cfg.otaa.dev_nonce = dev_nonce;

    if (ret < 0) {
      // If failed, wait before re-trying.
      k_sleep(K_MSEC(5000));
    }
  } while (ret != 0);

  ret = lorawan_set_class(LORAWAN_CLASS_C);
  if (ret != 0) {
    printk("lorawan_set_class with class C failed: %d\n\n", ret);
  }

  SYSMSG_CREATE_AND_SEND(MSG_ID_CONTROL_TASK, MSG_ID_SENSOR_TASK,
                          SMC_SENSOR_MEASURE);

  return DISPATCH_OK;
}

static dispatch_result_t sensor_event_msg_handler(msg_recv_t *p_msg_rxer,
                                                  msg_t *p_msg) {
  LOG_INF("Sensor Event Message Handler");

  event_msg_t *p_event_msg = (event_msg_t *)p_msg;

  if (p_event_msg->event_type == SENSOR_EVENT_WATER_FLOW) {
    uint32_t flow = (int)p_event_msg->event_data.u32;
    snprintf(tx_data, sizeof(tx_data), "flow: %d", flow);
    b_send_msg_lorawan = !b_send_msg_lorawan;
  }

  if (b_send_msg_lorawan) {
    SYSMSG_CREATE_AND_SEND(MSG_ID_CONTROL_TASK, MSG_ID_CONTROL_TASK, SMC_SEND_DATA_LORAWAN);
  }

  return DISPATCH_OK;
}

static dispatch_result_t send_data_lorawan_msg_handler(msg_recv_t *p_msg_rxer,
                                                       msg_t *p_msg) {
  int retries = 0;
  LOG_INF("Send data to LoRaWAN server");

  relay_toggle();

  LOG_HEXDUMP_INF(tx_data, sizeof(tx_data), "packet: ");

  while (true) {
    int ret = lorawan_send(FPORT, (uint8_t *)&tx_data, strlen(tx_data),
                           LORAWAN_MSG_UNCONFIRMED);
    if (ret == -EAGAIN) {
      LOG_ERR("lorawan_send failed: %d. Continuing...", ret);
      k_sleep(K_MSEC(500));
      continue;
    } else if (ret < 0) {
      LOG_ERR("lorawan_send failed: %d", ret);
      if (retries > 5) {
        break;
      }
      k_sleep(K_MSEC(500));
      retries++;
      continue;
    } else {
      LOG_INF("Data sent!");
      break;
    }
  }

  memset(tx_data, 0x00, sizeof(tx_data));

  return DISPATCH_OK;
}
```

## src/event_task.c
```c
#include <zephyr/logging/log.h>
LOG_MODULE_REGISTER(event_task, LOG_LEVEL_DBG);

#define THIS_FILE "Event"

#include <zephyr/kernel.h>
#include <zephyr/device.h>

#include <framework/msg_ids.h>
#include <framework/buffer_pool.h>
#include <framework/sys_msg_macros.h>
#include <framework/sys_msg_types.h>

/**************************************************************************************************/
/* Local Constant, Macro and Type Definitions                                                     */
/**************************************************************************************************/
#ifndef EVENT_TASK_PRIORITY
#define EVENT_TASK_PRIORITY K_PRIO_PREEMPT(1)
#endif

#ifndef EVENT_TASK_STACK_DEPTH
#define EVENT_TASK_STACK_DEPTH 4096
#endif

#ifndef EVENT_TASK_QUEUE_DEPTH
#define EVENT_TASK_QUEUE_DEPTH 32
#endif

typedef struct {
  msg_task_t msg_task;
} event_ctx_t;

/**************************************************************************************************/
/* Local Data Definitions                                                                         */
/**************************************************************************************************/
static event_ctx_t event_ctx;

K_THREAD_STACK_DEFINE(event_task_stack, EVENT_TASK_STACK_DEPTH);

K_MSGQ_DEFINE(event_task_queue, MSG_QUEUE_ENTRY_SIZE, EVENT_TASK_QUEUE_DEPTH, MSG_QUEUE_ALIGNMENT);

static uint32_t event_task_event_id = 0;

/**************************************************************************************************/
/* Local Function Prototypes                                                                      */
/**************************************************************************************************/
static void event_task_thread(void *, void *, void *);
static dispatch_result_t event_msg_handler(msg_recv_t *p_msg_rxer, msg_t *p_msg);

static void send_event_msg_lorawan(sensor_event_t *event);

// System message dispatcher
static msg_handler_t *event_task_msg_dispatcher(msg_code_t msg_code) {
  /* clang-format off */
  switch (msg_code) {
    case SMC_INVALID:         return sys_unknown_msg_handler;
    case SMC_EVENT_TRIGGER:   return event_msg_handler;
    default:                  return NULL;
  }
  /* clang-format on */
}

/**************************************************************************************************/
/* Global Function Definitions                                                                    */
/**************************************************************************************************/
void event_task_init(void) {
  event_ctx.msg_task.rxer.id = MSG_ID_EVENT_TASK;
  event_ctx.msg_task.rxer.rx_block_ticks = K_FOREVER;
  event_ctx.msg_task.rxer.p_msg_dispatcher = event_task_msg_dispatcher;
  event_ctx.msg_task.timer_duration_ticks = K_MSEC(1000);
  event_ctx.msg_task.timer_period_ticks = K_MSEC(0);
  event_ctx.msg_task.rxer.p_queue = &event_task_queue;

  // register the event message task to the message handler task list.
  msg_register_task(&event_ctx.msg_task);

  event_ctx.msg_task.p_tid =
      k_thread_create(&event_ctx.msg_task.data, event_task_stack, K_THREAD_STACK_SIZEOF(event_task_stack),
                      event_task_thread, &event_ctx, NULL, NULL, EVENT_TASK_PRIORITY, 0, K_NO_WAIT);
  k_thread_name_set(event_ctx.msg_task.p_tid, THIS_FILE);
}

/**************************************************************************************************/
/* Local Function Definitions                                                                     */
/**************************************************************************************************/
static void event_task_thread(void *p_arg1, void *p_arg2, void *p_arg3) {
  event_ctx_t *p_event = (event_ctx_t *)p_arg1;

  while (true) {
    msg_receiver(&p_event->msg_task.rxer);
  }
}

static dispatch_result_t event_msg_handler(msg_recv_t *p_msg_rxer, msg_t *p_msg) {
  ARG_UNUSED(p_msg_rxer);
  sensor_event_t event;

  event_msg_t *p_event_msg = (event_msg_t *)p_msg;

  event.type = p_event_msg->event_type;
  event.data = p_event_msg->event_data;
  // event.timestamp = get_epoch_time();

  send_event_msg_lorawan(&event);

  return DISPATCH_OK;
}

static void send_event_msg_lorawan(sensor_event_t *event) {
  /* Now post the event to the control task */
  event_msg_t *p_event_msg = (event_msg_t *)buffer_pool_take(sizeof(event_msg_t));
  if (p_event_msg != NULL) {
    p_event_msg->header.msg_code = SMC_SENSOR_EVENT;
    p_event_msg->header.tx_id = MSG_ID_SENSOR_TASK;
    p_event_msg->header.rx_id = MSG_ID_CONTROL_TASK;
    p_event_msg->event_type = event->type;
    p_event_msg->event_data = event->data;
    p_event_msg->id = event_task_event_id++;
    p_event_msg->timestamp = event->timestamp;
    SYSMSG_SEND(p_event_msg);
  }
}
```
